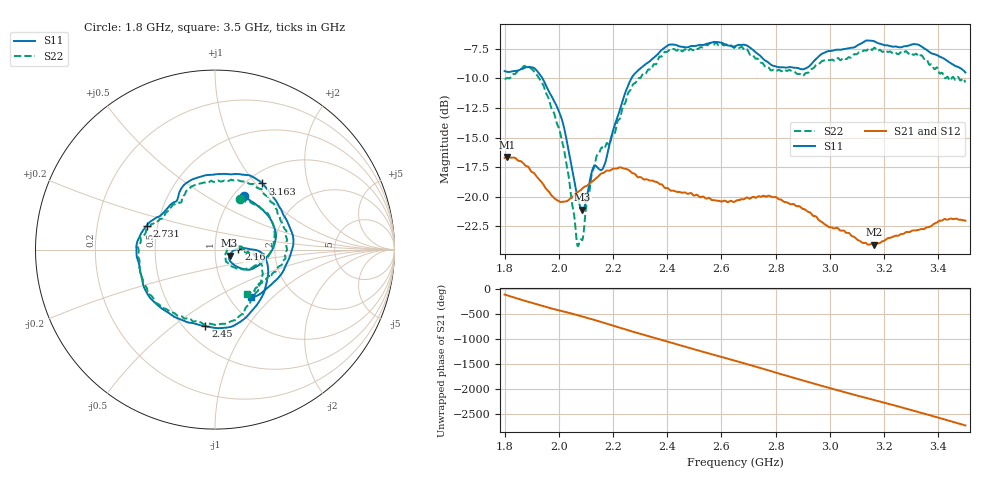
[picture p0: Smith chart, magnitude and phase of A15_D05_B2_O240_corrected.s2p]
! Created with skrf 1.9.0 (http://scikit-rf.org).
# Hz S RI R 50.0
!freq ReS11 ImS11 ReS21 ImS21 ReS12 ImS12 ReS22 ImS22
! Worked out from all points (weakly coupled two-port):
!   1601 points, 1.8 GHz to 3.5 GHz, reference 50 ohm
!   highest |S21| = -16.65 dB at 1.811 GHz (marker M1); lowest = -24.1 dB at 3.162 GHz (marker M2)
!   lowest |S11| = -21.1 dB at 2.087 GHz (marker M3), VSWR 1.19, Z = 58.7 - j4.02 ohm
!   |S11| at or under -10 dB: 1.94 GHz to 2.268 GHz (328.3 MHz wide, 15.6 % of centre)
!   |S22| runs from -24.2 to -7.0 dB; largest |S21 - S12| = 0.0027
!   S11 on the Smith chart (normalised r, x): 1.8 GHz: 1.12, +0.75; 2.16 GHz: 1.30, +0.00; 2.45 GHz: 0.63, -0.66; 2.731 GHz: 0.44, +0.14; 3.163 GHz: 1.17, +1.09; 3.5 GHz: 1.26, -0.75
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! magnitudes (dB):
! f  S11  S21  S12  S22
! 1.8 GHz  -9.4  -16.7  -16.7  -10.1
! 1.811 GHz  -9.5  -16.6  -16.6  -10.0
! 1.88 GHz  -9.1  -17.4  -17.4  -9.0
! 1.942 GHz  -10.1  -18.9  -19.0  -10.6
! 2.011 GHz  -13.5  -20.4  -20.4  -15.3
! 2.067 GHz  -19.8  -19.7  -19.7  -23.9
! 2.084 GHz  -21.0  -19.4  -19.3  -23.6
! 2.087 GHz  -21.1  -19.3  -19.3  -23.7
! 2.126 GHz  -17.6  -18.7  -18.7  -17.8
! 2.16 GHz  -17.7  -18.0  -18.0  -15.8
! 2.263 GHz  -10.2  -17.9  -17.9  -11.0
! 2.367 GHz  -7.9  -18.9  -18.8  -8.3
! 2.45 GHz  -7.3  -19.6  -19.6  -7.6
! 2.65 GHz  -7.3  -20.4  -20.4  -7.4
! 2.731 GHz  -7.9  -20.0  -20.1  -8.3
! 2.81 GHz  -9.1  -20.2  -20.1  -9.3
! 2.934 GHz  -8.7  -21.5  -21.5  -9.2
! 3.162 GHz  -6.9  -24.1  -24.0  -7.4
! 3.163 GHz  -6.9  -24.0  -24.0  -7.4
! 3.217 GHz  -7.2  -23.5  -23.5  -7.8
! 3.326 GHz  -7.2  -22.8  -22.8  -8.1
! 3.5 GHz  -9.5  -22.0  -22.0  -10.3
